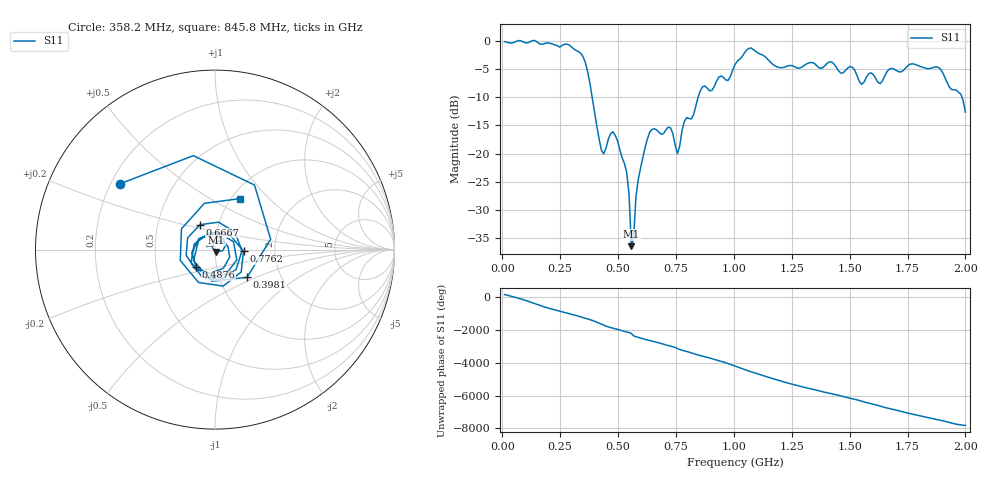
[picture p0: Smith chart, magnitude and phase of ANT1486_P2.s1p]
!Created with skrf (http://scikit-rf.org).
# Hz S RI R 50.0
!freq ReS11 ImS11
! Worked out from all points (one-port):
!   201 points, 10 MHz to 2 GHz, reference 50 ohm
!   lowest |S11| = -36.4 dB at 557.2 MHz (marker M1), VSWR 1.03, Z = 50.8 - j1.31 ohm
!   |S11| at or under -10 dB: 388 MHz to 845.6 MHz (457.6 MHz wide, 74.2 % of centre); 1.985 GHz to end of sweep
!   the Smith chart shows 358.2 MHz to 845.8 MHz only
!   S11 on the Smith chart (normalised r, x): 358.2 MHz: 0.24, +0.30; 398.1 MHz: 1.35, -0.44; 487.6 MHz: 0.79, -0.16; 666.7 MHz: 0.82, +0.23; 776.1 MHz: 1.38, -0.02; 845.8 MHz: 1.10, +0.69
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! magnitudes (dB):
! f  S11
! 10 MHz  -0.1
! 258.8 MHz  -0.8
! 358.2 MHz  -3.8
! 398.1 MHz  -12.5
! 437.9 MHz  -20.0
! 487.6 MHz  -16.8
! 507.5 MHz  -19.3
! 537.4 MHz  -23.4
! 547.3 MHz  -27.2
! 557.2 MHz  -36.4
! 567.2 MHz  -35.0
! 577.1 MHz  -27.7
! 597 MHz  -22.6
! 636.9 MHz  -16.2
! 666.7 MHz  -15.8
! 726.4 MHz  -15.4
! 756.2 MHz  -20.0
! 776.1 MHz  -16.0
! 845.8 MHz  -10.0
! 1.005 GHz  -4.2
! 1.075 GHz  -1.3
! 1.254 GHz  -4.4
! 1.502 GHz  -4.6
! 1.552 GHz  -7.7
! 1.751 GHz  -4.4
! 1.891 GHz  -5.0
! 1.98 GHz  -9.4
! 2 GHz  -12.6
